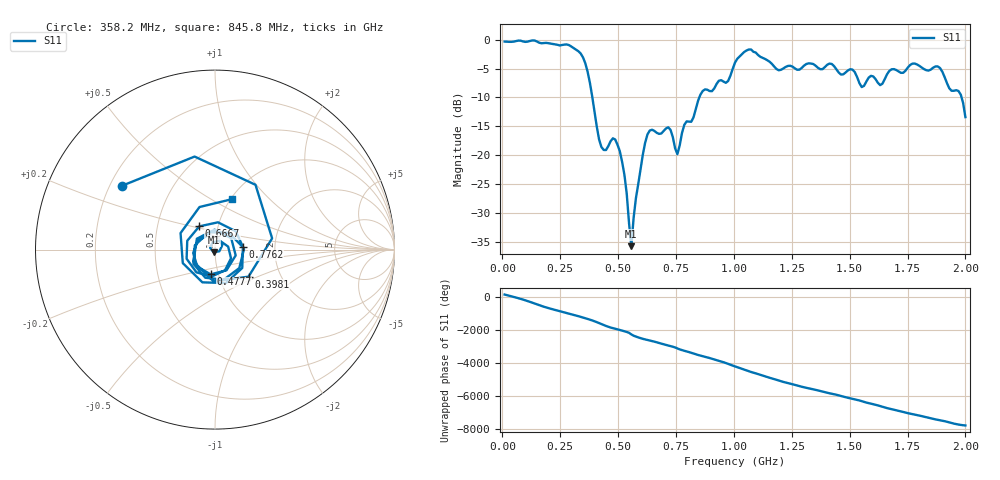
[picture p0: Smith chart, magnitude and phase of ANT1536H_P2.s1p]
!Created with skrf (http://scikit-rf.org).
# Hz S RI R 50.0
!freq ReS11 ImS11
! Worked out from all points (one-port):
!   201 points, 10 MHz to 2 GHz, reference 50 ohm
!   lowest |S11| = -35.8 dB at 557.2 MHz (marker M1), VSWR 1.03, Z = 49.2 - j1.41 ohm
!   |S11| at or under -10 dB: 388.9 MHz to 851 MHz (462.1 MHz wide, 74.5 % of centre); 1.983 GHz to end of sweep
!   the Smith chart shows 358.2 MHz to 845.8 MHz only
!   S11 on the Smith chart (normalised r, x): 358.2 MHz: 0.25, +0.29; 398.1 MHz: 1.38, -0.44; 477.6 MHz: 0.92, -0.26; 666.7 MHz: 0.81, +0.22; 776.1 MHz: 1.37, +0.04; 845.8 MHz: 1.02, +0.63
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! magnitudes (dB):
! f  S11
! 10 MHz  -0.3
! 258.8 MHz  -0.9
! 358.2 MHz  -4.1
! 398.1 MHz  -12.4
! 427.9 MHz  -18.6
! 477.6 MHz  -17.1
! 507.5 MHz  -19.3
! 537.4 MHz  -26.6
! 557.2 MHz  -35.8
! 577.1 MHz  -27.4
! 617 MHz  -17.8
! 666.7 MHz  -16.1
! 716.5 MHz  -15.2
! 756.2 MHz  -19.8
! 776.1 MHz  -16.1
! 845.8 MHz  -10.5
! 975.1 MHz  -7.2
! 1.005 GHz  -4.0
! 1.075 GHz  -1.7
! 1.194 GHz  -5.3
! 1.254 GHz  -4.7
! 1.502 GHz  -5.1
! 1.552 GHz  -8.2
! 1.751 GHz  -4.8
! 1.891 GHz  -4.9
! 1.93 GHz  -8.4
! 1.98 GHz  -9.5
! 2 GHz  -13.4
